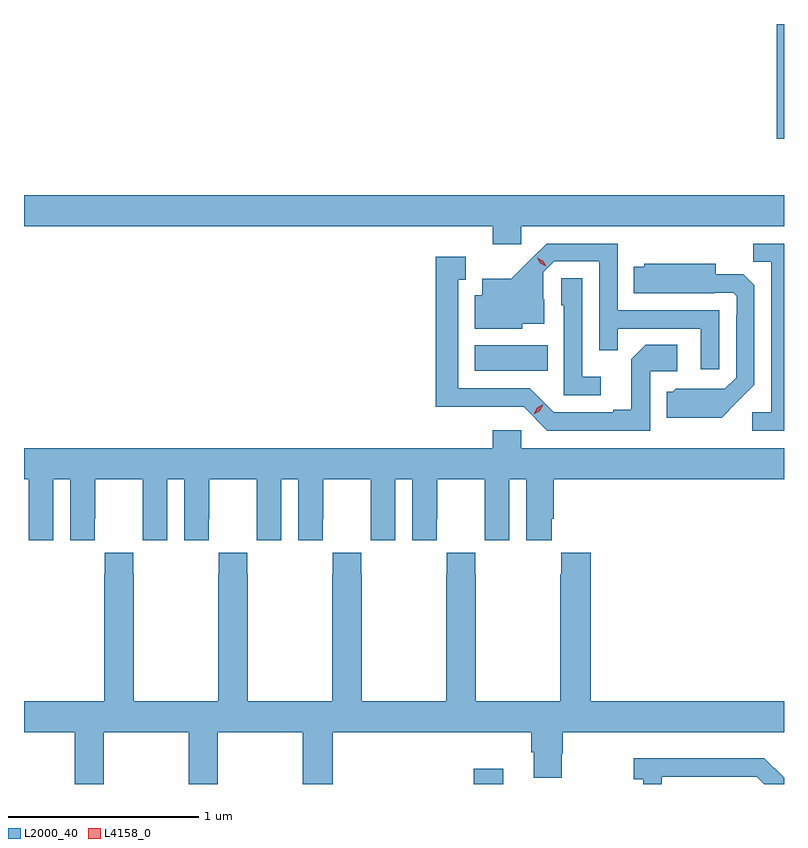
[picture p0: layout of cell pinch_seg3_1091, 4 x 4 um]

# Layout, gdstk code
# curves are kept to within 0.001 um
import gdstk
lib = gdstk.Library(unit=1e-6, precision=1e-09)
def R(c, l, rs):  # rectangles x0, y0, x1, y1
    for r in rs: c.add(gdstk.rectangle(r[:2], r[2:], *l))
def P(c, l, *ps):  # polygons
    for p in ps: c.add(gdstk.Polygon(p, *l))
L2000_40 = (2000, 40)
L4158_0 = (4158, 0)

pinch_seg3_1091 = lib.new_cell('pinch_seg3_1091')
R(pinch_seg3_1091, L2000_40, [(315.187,687.324,315.343,687.403), (315.194,689.498,315.578,689.632), (316.783,690.72,316.821,691.324)])
P(pinch_seg3_1091, L2000_40, [(315.438,690.26),(316.821,690.26),(316.821,690.424),(312.821,690.424),(312.821,690.26),(315.287,690.26),(315.287,690.165),(315.438,690.165)],
  [(316.821,690.168),(316.66,690.168),(316.66,690.073),(316.755,690.073),(316.755,689.28),(316.653,689.28),(316.653,689.184),(316.821,689.184)],
  [(316.479,689.817),(315.945,689.817),(315.945,690.168),(315.572,690.168),(315.385,689.983),(315.233,689.983),(315.233,689.896),(315.194,689.896),(315.194,689.72),(315.444,689.72),(315.444,689.747),(315.559,689.747),(315.559,689.876),(315.555,689.876),(315.555,690.018),(315.612,690.075),(315.849,690.075),(315.849,689.608),(315.947,689.608),(315.947,689.721),(316.383,689.721),(316.383,689.508),(316.479,689.508)],
  [(316.116,689.496),(316.258,689.496),(316.258,689.636),(316.093,689.636),(316.017,689.56),(316.017,689.293),(315.923,689.293),(315.923,689.28),(315.609,689.28),(315.483,689.406),(315.106,689.406),(315.106,689.979),(315.145,689.979),(315.145,690.1),(314.988,690.1),(314.988,689.309),(315.45,689.31),(315.576,689.184),(316.116,689.184)],
  [(316.573,689.333),(316.665,689.426),(316.665,689.948),(316.606,690.007),(316.462,690.007),(316.462,690.061),(316.086,690.061),(316.086,690.046),(316.03,690.046),(316.03,689.906),(316.454,689.906),(316.454,689.91),(316.554,689.91),(316.572,689.892),(316.572,689.792),(316.569,689.792),(316.569,689.463),(316.509,689.403),(316.252,689.404),(316.236,689.388),(316.205,689.388),(316.205,689.252),(316.493,689.252)],
  [(315.856,689.467),(315.759,689.467),(315.759,689.987),(315.648,689.987),(315.648,689.844),(315.663,689.844),(315.663,689.37),(315.856,689.37)],
  [(312.976,688.928),(313.064,688.928),(313.064,688.608),(313.194,688.608),(313.194,688.72),(313.195,688.72),(313.195,688.928),(313.445,688.928),(313.445,688.72),(313.446,688.72),(313.446,688.608),(313.576,688.608),(313.576,688.928),(313.664,688.928),(313.664,688.608),(313.794,688.608),(313.794,688.72),(313.795,688.72),(313.795,688.928),(314.045,688.928),(314.045,688.72),(314.046,688.72),(314.046,688.608),(314.176,688.608),(314.176,688.928),(314.264,688.928),(314.264,688.608),(314.394,688.608),(314.394,688.72),(314.395,688.72),(314.395,688.928),(314.645,688.928),(314.645,688.72),(314.646,688.72),(314.646,688.608),(314.776,688.608),(314.776,688.928),(314.864,688.928),(314.864,688.608),(314.994,688.608),(314.994,688.72),(314.995,688.72),(314.995,688.928),(315.245,688.928),(315.245,688.72),(315.246,688.72),(315.246,688.608),(315.376,688.608),(315.376,688.928),(315.464,688.928),(315.464,688.608),(315.598,688.608),(315.598,688.72),(315.608,688.72),(315.608,688.928),(316.821,688.928),(316.821,689.092),(315.438,689.092),(315.438,689.185),(315.287,689.185),(315.287,689.092),(312.821,689.092),(312.821,688.928),(312.845,688.928),(312.845,688.72),(312.846,688.72),(312.846,688.608),(312.976,688.608)],
  [(313.242,687.596),(313.687,687.596),(313.687,687.324),(313.842,687.324),(313.842,687.596),(314.287,687.596),(314.287,687.324),(314.447,687.324),(314.447,687.596),(315.491,687.596),(315.491,687.49),(315.503,687.49),(315.503,687.358),(315.651,687.358),(315.651,687.483),(315.656,687.483),(315.656,687.596),(316.821,687.596),(316.821,687.76),(315.803,687.76),(315.803,688.54),(315.649,688.54),(315.649,688.427),(315.643,688.427),(315.643,687.76),(315.198,687.76),(315.198,688.427),(315.195,688.427),(315.195,688.54),(315.045,688.54),(315.045,688.427),(315.043,688.427),(315.043,687.76),(314.598,687.76),(314.598,688.427),(314.595,688.427),(314.595,688.54),(314.445,688.54),(314.445,688.427),(314.443,688.427),(314.443,687.76),(313.998,687.76),(313.998,688.427),(313.995,688.427),(313.995,688.54),(313.845,688.54),(313.845,688.427),(313.843,688.427),(313.843,687.76),(313.398,687.76),(313.398,688.427),(313.395,688.427),(313.395,688.54),(313.245,688.54),(313.245,688.427),(313.243,688.427),(313.243,687.76),(312.821,687.76),(312.821,687.596),(313.087,687.596),(313.087,687.324),(313.242,687.324)],
  [(316.177,687.363),(316.677,687.363),(316.716,687.324),(316.821,687.324),(316.821,687.357),(316.718,687.46),(316.029,687.46),(316.029,687.35),(316.08,687.35),(316.08,687.324),(316.177,687.324)])
P(pinch_seg3_1091, L4158_0, [(315.504,689.27),(315.504,689.27),(315.522,689.303),(315.554,689.322),(315.554,689.322),(315.554,689.322),(315.536,689.289),(315.504,689.27)],
  [(315.569,690.049),(315.539,690.064),(315.521,690.093),(315.521,690.094),(315.521,690.094),(315.552,690.079),(315.57,690.049),(315.57,690.049)])

lib.write_gds('pinch_seg3_1091.gds')
